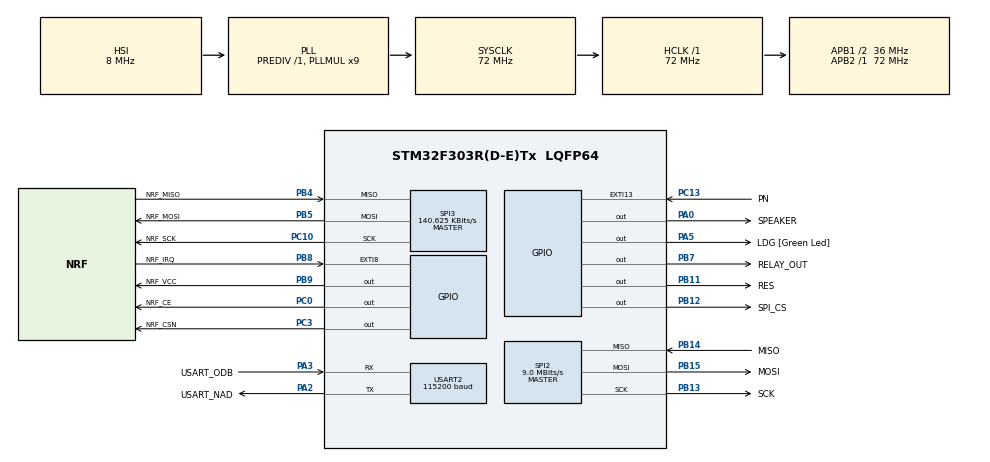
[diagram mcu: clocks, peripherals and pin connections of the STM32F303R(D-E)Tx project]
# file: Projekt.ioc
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Mcu.Family=STM32F3
Mcu.Name=STM32F303R(D-E)Tx
Mcu.Package=LQFP64
NVIC.EXTI15_10_IRQn=true\:0\:0\:false\:false\:true\:true\:true
NVIC.PriorityGroup=NVIC_PRIORITYGROUP_0
NVIC.USART2_IRQn=true\:0\:0\:false\:false\:true\:true\:true
PA0.GPIO_Label=SPEAKER
PA0.Signal=GPIO_Output
PA13.GPIO_Label=TMS
PA13.Mode=Serial_Wire
PA13.Signal=SYS_JTMS-SWDIO
PA14.GPIO_Label=TCK
PA14.Mode=Serial_Wire
PA14.Signal=SYS_JTCK-SWCLK
PA2.GPIO_Label=USART_NAD
PA2.GPIO_Mode=GPIO_MODE_AF_PP
PA2.GPIO_PuPd=GPIO_NOPULL
PA2.GPIO_Speed=GPIO_SPEED_FREQ_LOW
PA2.Mode=Asynchronous
PA2.Signal=USART2_TX
PA3.GPIO_Label=USART_ODB
PA3.GPIO_Mode=GPIO_MODE_AF_PP
PA3.GPIO_PuPd=GPIO_NOPULL
PA3.GPIO_Speed=GPIO_SPEED_FREQ_LOW
PA3.Mode=Asynchronous
PA3.Signal=USART2_RX
PA5.GPIO_Label=LDG [Green Led]
PA5.GPIO_Mode=GPIO_MODE_OUTPUT_PP
PA5.GPIO_PuPd=GPIO_NOPULL
PA5.GPIO_Speed=GPIO_SPEED_FREQ_LOW
PA5.Signal=GPIO_Output
PB11.GPIO_Label=RES
PB11.Signal=GPIO_Output
PB12.GPIO_Label=SPI_CS
PB12.Signal=GPIO_Output
PB13.GPIO_Label=SCK
PB13.Mode=Full_Duplex_Master
PB13.Signal=SPI2_SCK
PB14.GPIO_Label=MISO
PB14.Mode=Full_Duplex_Master
PB14.Signal=SPI2_MISO
PB15.GPIO_Label=MOSI
PB15.Mode=Full_Duplex_Master
PB15.Signal=SPI2_MOSI
PB3.GPIO_Label=SWO
PB3.Signal=SYS_JTDO-TRACESWO
PB4.GPIO_Label=NRF_MISO
PB4.Mode=Full_Duplex_Master
PB4.Signal=SPI3_MISO
PB5.GPIO_Label=NRF_MOSI
PB5.Mode=Full_Duplex_Master
PB5.Signal=SPI3_MOSI
PB7.GPIO_Label=RELAY_OUT
PB7.Signal=GPIO_Output
PB8.GPIO_Label=NRF_IRQ
PB8.Signal=GPXTI8
PB9.GPIO_Label=NRF_VCC
PB9.Signal=GPIO_Output
PC0.GPIO_Label=NRF_CE
PC0.Signal=GPIO_Output
PC10.GPIO_Label=NRF_SCK
PC10.Mode=Full_Duplex_Master
PC10.Signal=SPI3_SCK
PC13.GPIO_Label=PN
PC13.GPIO_ModeDefaultEXTI=GPIO_MODE_IT_FALLING
PC13.Signal=GPXTI13
PC14-OSC32_IN.Mode=LSE-External-Oscillator
PC14-OSC32_IN.Signal=RCC_OSC32_IN
PC15-OSC32_OUT.Mode=LSE-External-Oscillator
PC15-OSC32_OUT.Signal=RCC_OSC32_OUT
PC3.GPIO_Label=NRF_CSN
PC3.Signal=GPIO_Output
PF0-OSC_IN.Mode=HSE-External-Clock-Source
PF0-OSC_IN.Signal=RCC_OSC_IN
PF1-OSC_OUT.Signal=RCC_OSC_OUT
ProjectManager.HeapSize=0x200
ProjectManager.StackSize=0x400
ProjectManager.TargetToolchain=STM32CubeIDE
RCC.AHBFreq_Value=72000000
RCC.APB1CLKDivider=RCC_HCLK_DIV2
RCC.APB1Freq_Value=36000000
RCC.APB1TimFreq_Value=72000000
RCC.APB2Freq_Value=72000000
RCC.APB2TimFreq_Value=72000000
RCC.CortexFreq_Value=72000000
RCC.HCLKFreq_Value=72000000
RCC.HSE_VALUE=8000000
RCC.HSI_VALUE=8000000
RCC.PLLM=8
RCC.PLLMUL=RCC_PLL_MUL9
RCC.PLLN=336
RCC.PLLP=RCC_PLLP_DIV4
RCC.PLLQ=7
RCC.RCC_PLLsource_Clock_Source_FROM_HSE=RCC_HSE_PREDIV_DIV2
RCC.SYSCLKFreq_VALUE=72000000
RCC.SYSCLKSourceVirtual=RCC_SYSCLKSOURCE_PLLCLK
RCC.USBFreq_Value=72000000
SPI2.BaudRatePrescaler=SPI_BAUDRATEPRESCALER_4
SPI2.CalculateBaudRate=9.0 MBits/s
SPI2.DataSize=SPI_DATASIZE_8BIT
SPI2.Direction=SPI_DIRECTION_2LINES
SPI2.Mode=SPI_MODE_MASTER
SPI2.VirtualType=VM_MASTER
SPI3.BaudRatePrescaler=SPI_BAUDRATEPRESCALER_256
SPI3.CLKPhase=SPI_PHASE_1EDGE
SPI3.CRCCalculation=SPI_CRCCALCULATION_DISABLE
SPI3.CalculateBaudRate=140.625 KBits/s
SPI3.DataSize=SPI_DATASIZE_8BIT
SPI3.Direction=SPI_DIRECTION_2LINES
SPI3.Mode=SPI_MODE_MASTER
SPI3.NSSPMode=SPI_NSS_PULSE_DISABLE
SPI3.VirtualType=VM_MASTER
TIM1.Period=0xffff
TIM1.Prescaler=72-1
USART2.BaudRate=115200
USART2.VirtualMode-Asynchronous=VM_ASYNC
VP_TIM1_VS_ClockSourceINT.Mode=Internal
board=NUCLEO-F303RE

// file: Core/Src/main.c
/* USER CODE BEGIN Header */
/**
  ******************************************************************************
  * @file           : main.c
  * @brief          : Main program body
  ******************************************************************************
  * @attention
  *
  * <h2><center>&copy; Copyright (c) 2020 STMicroelectronics.
  * All rights reserved.</center></h2>
  *
  * This software component is licensed by ST under BSD 3-Clause license,
  * the "License"; You may not use this file except in compliance with the
  * License. You may obtain a copy of the License at:
  *                        opensource.org/licenses/BSD-3-Clause
  *
  ******************************************************************************
  */
/* USER CODE END Header */
#include "main.h"
#include "spi.h"
#include "tim.h"
#include "usart.h"
#include "gpio.h"

/* USER CODE BEGIN Includes */
#include <string.h>
#include <stdio.h>
#include <stdarg.h>
#include <rc522.h>		//Biblioteka do modułu RFID rc522
#include <FLASH_PAGE.h> //Biblioteka do zapisu/odczytu flash
#include <MY_NRF24.h>	//Biblioteka do modułu radiowego
/* USER CODE END Includes */

/* USER CODE BEGIN PV */
/*---------------------------------------ZMIENNE---------------------------------------------------*/

/*
Rozkład pinów dla projektu:
PIN:			ETYKIETA:			TRYB PRACY:				FUNKCJONALNOŚĆ:

PC0				NRF_CE				GPIO_OUTPUT				Wysyłanie danych do nRF24
PC3				NRF_CSN				GPIO_OUTPUT				Wysyłanie danych do nRF24
PC13			PN					GPIO_EXTI3				Przycisk - programowanie flash (low - on, high - off)
PA2				USART_NAD			USART2_TX				Nadawanie poprzez USART
PA3				USART_ODB			USART2_RX				Odbieranie poprzez USART
PA5				LDG					GPIO_OUTPUT				Zielona dioda (low - off, high - on)
PB11			RES					GPIO_OUTPUT				Ustawia tryb komunikacji RC522
PB12			SPI_CS				GPIO_OUTPUT				Komunikacja z RC522
PB13			SCK					SPI2_SCK				Komunikacja z RC522
PB14			MISO				SPI2_MISO				Komunikacja z RC522
PB15			MOSI				SPI2_MOSI				Komunikacja z RC522
PC10			NRF_SCK				SPI3_SCK				Komunikacja z nRF24
PB4				NRF_MISO			SPI3_MISO				Komunikacja z nRF24
PB5				NRF_MOSI			SPI3_MOSI				Komunikacja z nRF24
PB7				RELAY_OUT			GPIO_OUTPUT				Sterowanie stanem przekaźnika (high - on, low - off)
PB8				NRF_IRQ				GPIO_EXTI8				Jeszcze brak, docelowo przerwania
PB9				NRF_VCC				GP IO_OUTPUT				Zasilanie nRF24 (high - on, low - off)
PA0				SPEAKER				GPIO_OUTPUT				Sygnał głośnika
*/

//--------Definicja SPI dla RC522
#define cs_reset() 					HAL_GPIO_WritePin(SPI_CS_GPIO_Port, SPI_CS_Pin, GPIO_PIN_RESET)
#define cs_set() 					HAL_GPIO_WritePin(SPI_CS_GPIO_Port, SPI_CS_Pin, GPIO_PIN_SET)
//Koniec: Definicja SPI dla RC522

//Bufory kołowe do komunikacji poprzez USART
#define USART_NAD_BUF_LEN 1512				//Rozmiar buforu nadawczego
#define USART_ODB_BUF_LEN 1512				//Rozmiar buforU odbiorczego
uint8_t USART_NADBuf[USART_NAD_BUF_LEN];	//Bufor nadawczy
uint8_t USART_ODBBuf[USART_ODB_BUF_LEN];	//Bufor odbiorczy
uint16_t USART_NAD_Empty=0;					//Pozycja dla pustego miejsca w buf. nadawczym
uint16_t USART_NAD_Busy=0;					//Pozycja dla zajętego miejsca w buf. nadawczym
uint16_t USART_ODB_Empty=0;					//Pozycja dla pustego miejsca w buf. odbiorczym
uint16_t USART_ODB_Busy=0;					//Pozycja dla zajętego miejsca w buf. odbiorczym
//Koniec: Bufory kołowe do komunikacji poprzez USART

//Liczniki, stany oraz zmienne sprawdzające
uint8_t Licznik_LDG_Czest = 0;		//Licznik częstotliwości migania diody przy odczycie RFID
uint16_t Licznik_LDG_Dlugosc = 0;	//Licznik migania diody po odczycie RFID
uint8_t Opoznienie = 1;				//Zmienna przełączająca - decyduje, czy opóźnienie jest włączone, czy nie
uint16_t Licznik_Opoznienie = 0;	//Licznik dla opóźnienia do zapisu/odczyty RFID
uint16_t Licznik_ID_Zapis = 0;		//Licznik do zapisu RFID (Zegar: IDSaving)
uint16_t Licznik = 0; 				//Licznik ogólny
uint8_t Door_Open = 0;				//zmienna informująca, czy furtka jest otwarta
uint8_t Door_PermOpen = 0;			//tryb stałego otwarcia furtki (0 - wył)
uint8_t PN_Licznik_Toggle = 0;		//Włączenie/wyłączenie licznika przycisku
uint32_t PN_OFF_Licznik = 0;		//Licznik nie naciśniętego przycisku
uint32_t PN_OFF_Licznik_Zapisany=0;	//zapis licznika do pamięci
uint32_t PN_ON_Licznik = 0;			//Licznik wciśniętego przycisku
uint32_t PN_ON_Licznik_Zapisany = 0;//zapis licznika do pamięci
uint8_t PN_Verify1 = 0;				//Programowanie flash
uint8_t PN_Verify2 = 0;				//Programowanie flash
int i = 0;							//Licznik do pętli
int g = 0;							//zmienna do tablic z usarta
uint16_t LicznikPerm = 0;			//Licznik do resetowania diody przy otwartej furtce
uint16_t Licznik_Ramka = 0;			//Licznik dla timeoutu ramki
uint8_t ramkaReset = 0;				//Zmienna przełączająca timeout dla ramki
uint8_t dzwiekPrzelacznik = 1;		//Dzwiek wl/wyl
uint8_t przekroczonoZakres = 0;		//Sterowanie przerkoczeniem zakresu w ramce komunikacji
uint8_t bladKodowania = 0;			//Sterowanie bledem kodowania (znak niekodowany po \)
uint8_t trigger_flashClear = 0;		//przełącznik czyszczenia flash
uint16_t licznik_flashClear = 0;	//licznik czyszczenia flash
//Koniec: Liczniki, stany oraz zmienne sprawdzające

//Zmienne decydujące o czasie trwania akcji
uint16_t Czas_OtwarciaFurtki = 5000;			//Czas otwarcia furtki po otwarciu RFID lub sygnale krótkim
uint16_t Czas_Opoznienie = 6000;				//Czas opóźnienia akcji
uint16_t Czas_ZapisuFlash = 6000;				//Czas, w którym można zapisać do flash po włączeniu trybu
uint16_t Czas_InterwalyResetu = 8000;			//Interwały dla resetu diody nadajnika
uint16_t Czas_WyczyszczenieFlash = 20000;		//Czas wciśnięcia przycisku do zresetowania flash
uint16_t Czas_ZapisPrzycisk_E1D = 2000;			//Zakres czasu dolny dla etapu 1 (E1D) sekwencji zapisu flash w ms (od 2s..)
uint16_t Czas_ZapisPrzycisk_E1G = 4000;			//(..do 4s)
uint16_t Czas_ZapisPrzycisk_E2D = 3000;			// od 3s...
uint16_t Czas_ZapisPrzycisk_E2G = 6000;			// ...do 6s
uint16_t Czas_ZapisPrzycisk_E3D = 5000;			//od 5s...
uint16_t Czas_ZapisPrzycisk_E3G = 10000;		//...do 10s
uint16_t Czas_ZapisPrzycisk_Zerowanie = 10000;	//Interwały zerowania licznika off przycisku i stanów weryfikacji sekwencji zapisu flash
uint16_t Czas_OdczytFlash_MiganieDiody = 2000;	//Czas migania diody po poprawnym odczycie RFID
uint16_t Czas_OdczytFlash_Czestotliwosc = 250;	//Częstotliwość migania diody po odczycie RFID
uint16_t Czas_resetowaniaRamki = 4500;			//Timeout dla komunikacji

/*PAMIEĆ FLASH: Info
Zakres pamięci: 0x0800 0000 -  0x0807 FFFF
Wybrany zakres pamięci Flash dla RFID: 0x08032010 do 0x0807D010
Tagi zapisywane są co 4 bajty, co daje 76 800 miejsc dla tagów
Czyszczenie:
Więc od 0x08032010 do 0x0807D010 co 2048b, więc co 0x800 HEX jeden tag
Wywołanie zapisu do flash:
2 - 4s Przycisk wciśnięty,
3 - 6s Przycisk nie naciśnięty,
5 - 20s Przycisk wciśnięty
Wywołanie czyszczenia flash:
>20s Przycisk wciśnięty
Koniec: Flash Info*/

//RC522 - Zmienne
uint32_t ID[4];						//Kontener dla ID karty
uint8_t ID_Weryfikacja;				//Zmienna informująca, czy ID się zgadza z zapisem w pamięci
uint8_t ID_Zapis = 0; 				//Zmienna włączająca w tryb zapisu flash
//Koniec: RC522 - Zmienne

//nRF24 - Zmienne
uint64_t AdresOdbiorczy = 0x11223344AA;	//Adres odbiorczy modułu radiowego
uint64_t AdresNadawczy = 0x12223344AA;	//Adres nadawczy modułu radiowego
char klucz[50];							//Kontener na przychodzące dane
uint32_t kluczKrotki = 391020153;		//Klucz dla otwarcia furtki na określony czas
uint32_t kluczDlugi = 594201501;		//Klucz dla otwarcia/zamknięcia furtki na stałe
static char resetDiody[32] = "325112";	//Włącza diodę w nadajniku, jeśli furtka otwarta jest na stałe
static char resetDiody2[32] = "435345";	//Wyłącza diodę w nadajniku, jeśli furtka jest zamknięta
uint8_t resetDiody_wysylka = 0;			//Zmienna decydująca
//Koniec: nRF24 - Zmienne

//Zmienne głośnika
uint16_t Tony[] = {1911,1702,1516,1431,1275,1136,1012}; //Wartości opóźnienia w mikrosekundach
//od najmniejszej częstotliwości do największej
//Koniec: Zmienne głośnika

//Komendy
static char komendaOtworz[248] = "OPEN";				//Otwiera elektrozaczep
static char komendaOtworzStale[248] = "OPENPERM";		//Otwiera stale elektrozaczep
static char komendaZamknij[248] = "CLOSE";				//Zamyka elektrozaczep
static char komendaFlashZapisz[248] = "FLASHSAVE";		//Zapis RFID do flash
static char komendaFlashWyczysc[248] = "FLASHCLEAR";	//Czyszczenie flash
static char komendaZmienCzas[248] = "CHANGETIMEOPEN:";	//Zmiana czasu otwarcia elektrozaczepu
static char komendaDzwiek[248] = "SOUND";				//WL/WYL dzwiek
//Koniec komend

//Zmienne komunikacji UART
uint8_t znak;							//Zmienna przechowująca aktualny znak z buforu odbiorczego
uint8_t odbiorRamki = 0;				//Zmienna informująca, czy trwa odbiór właściwej części ramki
uint8_t poczatekRamki = 0;				//Zmienna informująca, czy odebrano pierwszy znak
uint8_t koniecRamki = 0;				//Zmienna informująca, czy odebrano ostatni znak
uint8_t errorZabronionyZnak = 0;		//Zmienna przełączająca dla błędu
uint16_t ramkaIDX = 0;					//Indeks ramki
uint8_t ramka[256];						//Zmienna przechwytująca ramkę komunikacji
uint8_t dlugoscRamki = 0;				//Zmienna przechowująca długość ramki
uint8_t czyszczenieFlash = 0;			//Zmienna przełączająca dla czyszczenia flash
uint8_t komendaZmienCzasTrigger = 0;	//Zmienna informująca o przypadku komendy zmiany czasu
uint8_t zmianaCzasuTablica[5];			//Zmienna przechwytująca czas do komendy
uint8_t zmianaCzasuError = 0;			//Zmienna przełączająca dla błędu
uint16_t tempCzas;						//Zmienna tymczasowa do konwersji czasu
char Odbiorca[4] = "NCL";				//Nazwa odbiorcy
char OdbiorcaSpr[4];					//Zmienna do sprawdzenia, czy komunikat jest do płytki
char Nadawca[4];						//Zmienna przechwytująca nadawcę
char komenda[248];						//Zmienna przechwytująca komendę w ramce
uint8_t kodowanie = 0;
//Koniec zmiennych komunikacji UART

/*---------------------------------KONIEC ZMIENNYCH-----------------------------------------*/
/* USER CODE END PV */

void SystemClock_Config(void);
/* USER CODE BEGIN PFP */
/*--------------------------------------FUNKCJE----------------------------------------------*/

 //RC522 - Deklaracje funkcji
uint8_t MFRC522_Request(uint8_t reqMode, uint8_t* TagType); //Odbieranie tagu RFID
uint8_t MFRC522_Anticoll(uint8_t* serNum);					//Anty-kolizja dla RFID
void MFRC522_Init(void);									//Inicjalizacja RC522
//Koniec: RC522 - Deklaracje funkcji

void Zegar(){//----------Początek: Zegar-----------

	if(!Opoznienie){ //Opóźnienie dla odczytu RFID
		Licznik_Opoznienie++;
		if(Licznik_Opoznienie>=Czas_Opoznienie){
			Licznik_Opoznienie = 0;
			Opoznienie = 1;
		}
	}//Koniec: Opóźnienie dla odczytu RFID

	if(Door_Open){ //Oczekiwanie i zamknięcie furtki
		Licznik++;
		if(Licznik>=Czas_OtwarciaFurtki){
			Door_ChangeState();
			if(dzwiekPrzelacznik)
				dzwiek_doorClose();
			Licznik = 0;
			Door_Open = 0;
		}
	}//Koniec: Oczekiwanie i zamknięcie furtki

	if(PN_Licznik_Toggle)//Liczenie czasu stanu przycisku
		PN_ON_Licznik++;
	else
		PN_OFF_Licznik++;//Koniec: Liczenie czasu stanu przycisku

	if(ID_Zapis){//Zapis RFID do pamięci flash - licznik i dioda
		Licznik_ID_Zapis++;
		Licznik++;
		if(Licznik>=500){
			LDG_Toggle();
			Licznik = 0;
		}
		if(Licznik_ID_Zapis>=Czas_ZapisuFlash){
			ID_Zapis = 0;
			Licznik_ID_Zapis = 0;
			HAL_GPIO_WritePin(LDG_GPIO_Port, LDG_Pin, GPIO_PIN_RESET);
			Opoznienie = 0;
			dzwiek_ID_Check_NotOK();
		}
	}//Koniec: Zapis RFID do pamięci flash - licznik i dioda

	if(ID_Weryfikacja){//Poprawny odczyt RFID - miganie diody
		Licznik_LDG_Dlugosc++;
		Licznik_LDG_Czest++;
		if(Licznik_LDG_Czest>=Czas_OdczytFlash_Czestotliwosc){
			LDG_Toggle();
			Licznik_LDG_Czest = 0;
		}
		if(Licznik_LDG_Dlugosc>Czas_OdczytFlash_MiganieDiody){
			Licznik_LDG_Dlugosc = 0;
			ID_Weryfikacja = 0;
		}
		HAL_GPIO_WritePin(LDG_GPIO_Port, LDG_Pin, GPIO_PIN_RESET);
	}//Koniec: Poprawny odczyt RFID - miganie diody

	LicznikPerm++;
	if(LicznikPerm>Czas_InterwalyResetu){
		resetDiody_wysylka = 1;
		LicznikPerm = 0;
	}//Koniec: Reset diody pilota - furtka otwarta

	if(ramkaReset)	//timeout dla ramki
	{
		Licznik_Ramka++;
		if(Licznik_Ramka > Czas_resetowaniaRamki)
			resetRamki();
	} //Koniec: timeout dla ramki

	if(trigger_flashClear){
		licznik_flashClear++;
		if(licznik_flashClear >= 5000){
			licznik_flashClear = 0;
			trigger_flashClear = 0;
		}
	}

}//---------Koniec: Zegar----------

uint8_t USART_ODB_NotEmpty(){
	if(USART_ODB_Empty==USART_ODB_Busy)
		return 0;
	else
		return 1;
}//Koniec: USART_ODB_NotEmpty

uint8_t USART_PobierzZnak(){
	uint8_t temp;
	if(USART_ODB_NotEmpty()){
		temp = USART_ODBBuf[USART_ODB_Busy];
		USART_ODB_Busy++;
		if(USART_ODB_Busy >= USART_ODB_BUF_LEN)
			USART_ODB_Busy = 0;
		return temp;
	}
	else return 0;
}//Koniec: USART_PobierzZnak

uint8_t USART_PobierzLinie(char *buf){
	static uint8_t bf[128];
	static uint8_t idx=0;
	uint8_t ret;
	int x = 0;
	while(USART_ODB_NotEmpty()){
		bf[idx] = USART_PobierzZnak();
		if(((bf[idx]==10)||(bf[idx]==13)))
		{
			bf[idx]=0;
			for(i=0;i<=idx;i++){
				buf[i]=bf[i];
			}
			ret = idx;
			idx = 0;
			return ret;
		}
		else
		{
			idx++;
			if(idx>=128)
				idx = 0;
		}
	}
	return x;
}//Koniec: USART_PobierzLinie

void USART_wysylka(char* format,...){
	char tmp_rs[256];
	uint16_t H;
	__IO int idx;
	va_list arglist;
	va_start(arglist,format);
	vsprintf(tmp_rs,format,arglist);
	va_end(arglist);
	idx = USART_NAD_Empty;
	for(H=0;H<strlen(tmp_rs);H++){
		USART_NADBuf[idx]=tmp_rs[H];
		idx++;
		if(idx >= USART_NAD_BUF_LEN)
			idx = 0;
	}
	__disable_irq();
	if((USART_NAD_Empty==USART_NAD_Busy)&&(__HAL_UART_GET_FLAG(&huart2,UART_FLAG_TXE)==SET))
	{
		USART_NAD_Empty = idx;
		uint8_t tmp = USART_NADBuf[USART_NAD_Busy];
		USART_NAD_Busy++;
		if(USART_NAD_Busy >= USART_NAD_BUF_LEN)
			USART_NAD_Busy = 0;
		HAL_UART_Transmit_IT(&huart2, &tmp, 1);
	}
	else
		USART_NAD_Empty = idx;
	__enable_irq();
}//Koniec: USART_Wysylka

void HAL_UART_TxCpltCallback(UART_HandleTypeDef *huart) //przerwanie do nadawania
{
	if(huart==&huart2)
	{
		if(USART_NAD_Empty!=USART_NAD_Busy)
		{
			uint8_t temp = USART_NADBuf[USART_NAD_Busy];
			USART_NAD_Busy++;
			if(USART_NAD_Busy >= USART_NAD_BUF_LEN)
				USART_NAD_Busy = 0;
			HAL_UART_Transmit_IT(&huart2, &temp, 1);
		}
	}
}//Koniec: Przerwanie do nadawania

void HAL_UART_RxCpltCallback(UART_HandleTypeDef *huart) //przerwanie do odbioru
{
	if(huart == &huart2)
	{
		USART_ODB_Empty++;
		if(USART_ODB_Empty >= USART_ODB_BUF_LEN)
			USART_ODB_Empty = 0;
		HAL_UART_Receive_IT(&huart2, &USART_ODBBuf[USART_ODB_Empty], 1);
	}
} //Koniec: Przerwanie do odbioru

void Flash_IDSave(uint32_t ID_IN){
	HAL_FLASH_Unlock();
	__IO uint32_t Flash_check = 0;
	uint32_t AdresZapisu = 0x8032010;
	uint8_t C = 0;
	for(i = 0; i <= 76800; i++){ //wyszukiwanie wolnego miejsca co 4 bajty
		Flash_check = *(__IO uint32_t *)AdresZapisu;
		if(Flash_check == 0xFFFFFFFF){ //znaleziono wolne miejsce
			HAL_FLASH_Program(FLASH_TYPEPROGRAM_WORD, AdresZapisu, ID_IN);
			C = 1;
			break;
		}
		else
			AdresZapisu = AdresZapisu + 4;
	}
	if(!C) //nie znaleziono wolnego miejsca - flash dla RFID jest czyszczony
		flashClear();
	HAL_FLASH_Lock();
}

uint8_t Flash_IDCheck(uint32_t ID_IN){//Wyszukanie RFID w pamięci flash
	uint32_t AdresPobrania = 0x8032010;
	__IO uint32_t Flash_check;
	for(i = 0 ; i <= 76800; i++){//Zakres pamięci flash dla RFID to 150 stron
		Flash_check = *(__IO uint32_t *)AdresPobrania;
		if(ID_IN==Flash_check)
			return 1;
		else
			AdresPobrania = AdresPobrania + 4;
	}
	return 0;
}//Koniec: Flash_IDCheck

void LDG_Toggle(){//Przełączenie stanu diody zielonej
	HAL_GPIO_TogglePin(LDG_GPIO_Port, LDG_Pin);
}

void RC522_SetReset(){ //Ustawienie resetu dla RC522, dla komunikacji poprzez SPI
	HAL_GPIO_WritePin(RES_GPIO_Port, RES_Pin, GPIO_PIN_SET);
	HAL_Delay(5);
	HAL_GPIO_WritePin(RES_GPIO_Port, RES_Pin, GPIO_PIN_RESET);
	HAL_Delay(5);
	HAL_GPIO_WritePin(RES_GPIO_Port, RES_Pin, GPIO_PIN_SET);
	HAL_Delay(5);
}//Koniec: RC522_SetReset

void Door_ChangeState(){//Otworzenie/zamknięcie furtki
	HAL_GPIO_TogglePin(RELAY_OUT_GPIO_Port, RELAY_OUT_Pin);
}//Koniec: Otworzenie/zamknięcie furtki

void delay_us (uint16_t us)//Opóźnienie w mikrosekundach
{
	__HAL_TIM_SET_COUNTER(&htim1,0);  // set the counter value a 0
	while (__HAL_TIM_GET_COUNTER(&htim1) < us);  // wait for the counter to reach the us input in the parameter
}//Koniec: Opóźnienie w mikrosekundach

void dzwiek_ID_Zapis(){//Dźwięk wydawany podczas zapisu karty RFID
	for(uint8_t j = 4; j<=6; j++){
		for(i = 0; i<100; i++){
			HAL_GPIO_WritePin(SPEAKER_GPIO_Port, SPEAKER_Pin, GPIO_PIN_SET);
			delay_us(Tony[j]);
			HAL_GPIO_WritePin(SPEAKER_GPIO_Port, SPEAKER_Pin, GPIO_PIN_RESET);
			delay_us(Tony[j]);
		}
		HAL_Delay(10);
	}
	for(uint8_t j = 5; j<=6; j++){
		for(i = 0; i<100; i++){
			HAL_GPIO_WritePin(SPEAKER_GPIO_Port, SPEAKER_Pin, GPIO_PIN_SET);
			delay_us(Tony[j]);
			HAL_GPIO_WritePin(SPEAKER_GPIO_Port, SPEAKER_Pin, GPIO_PIN_RESET);
			delay_us(Tony[j]);
		}
		HAL_Delay(10);
	}
}//Koniec: dzwiek_ID_Zapis

void dzwiek_ID_Check_OK(){//Dźwięk wydawany podczas poprawnego odczytu karty RFID
	for(uint8_t j = 0; j<3; j++){
		for(i = 0; i<40; i++){
			HAL_GPIO_WritePin(SPEAKER_GPIO_Port, SPEAKER_Pin, GPIO_PIN_SET);
			delay_us(Tony[6]);
			HAL_GPIO_WritePin(SPEAKER_GPIO_Port, SPEAKER_Pin, GPIO_PIN_RESET);
			delay_us(Tony[6]);
		}
		HAL_Delay(50);
	}
}//Koniec: dzwiek_ID_Check_OK

void dzwiek_ID_Check_NotOK(){//Dźwięk wydawany podczas nieudanego odczytu karty RFID
	for(i = 0; i<300; i++){
		HAL_GPIO_WritePin(SPEAKER_GPIO_Port, SPEAKER_Pin, GPIO_PIN_SET);
		delay_us(Tony[0]);
		HAL_GPIO_WritePin(SPEAKER_GPIO_Port, SPEAKER_Pin, GPIO_PIN_RESET);
		delay_us(Tony[0]);}
}//Koniec: dzwiek_ID_Check_NotOK

void dzwiek_permOpenON(){//Dźwięk po otwarciu stałym furtki
	for(i = 0; i<300; i++){
		HAL_GPIO_WritePin(SPEAKER_GPIO_Port, SPEAKER_Pin, GPIO_PIN_SET);
		delay_us(Tony[6]);
		HAL_GPIO_WritePin(SPEAKER_GPIO_Port, SPEAKER_Pin, GPIO_PIN_RESET);
		delay_us(Tony[6]);
	}
}//Koniec: dzwiek_permOpenON

void dzwiek_doorClose(){//Dźwięk po zamknięciu furtki
	for(i = 0; i<50; i++){
		HAL_GPIO_WritePin(SPEAKER_GPIO_Port, SPEAKER_Pin, GPIO_PIN_SET);
		delay_us(Tony[2]);
		HAL_GPIO_WritePin(SPEAKER_GPIO_Port, SPEAKER_Pin, GPIO_PIN_RESET);
		delay_us(Tony[2]);
	}
}//Koniec: dzwiek_doorClose

void dzwiek_czyszczenieFlash(){//Dźwięk przy zresetowaniu flash
	for(uint8_t j = 0; j<=6; j++){
		for(i = 0; i<60; i++){
			HAL_GPIO_WritePin(SPEAKER_GPIO_Port, SPEAKER_Pin, GPIO_PIN_SET);
			delay_us(Tony[j]);
			HAL_GPIO_WritePin(SPEAKER_GPIO_Port, SPEAKER_Pin, GPIO_PIN_RESET);
			delay_us(Tony[j]);
		}
		HAL_Delay(30);
	}
	for(uint8_t h = 6; h>0; h--){
		for(i = 0; i<60; i++){
			HAL_GPIO_WritePin(SPEAKER_GPIO_Port, SPEAKER_Pin, GPIO_PIN_SET);
			delay_us(Tony[h]);
			HAL_GPIO_WritePin(SPEAKER_GPIO_Port, SPEAKER_Pin, GPIO_PIN_RESET);
			delay_us(Tony[h]);
		}
		HAL_Delay(30);
	}
	for(i = 0; i<60; i++){
	HAL_GPIO_WritePin(SPEAKER_GPIO_Port, SPEAKER_Pin, GPIO_PIN_SET);
	delay_us(Tony[0]);
	HAL_GPIO_WritePin(SPEAKER_GPIO_Port, SPEAKER_Pin, GPIO_PIN_RESET);
	delay_us(Tony[0]);
	}
}//Koniec: dzwiek_czyszczenieFlash

void dzwiek_Inicjalizacja(){//Dźwięk po udanej inicjalizacji płytki
	for(uint8_t j = 0; j <2; j++){
		for(i = 0; i<50; i++){
			HAL_GPIO_WritePin(SPEAKER_GPIO_Port, SPEAKER_Pin, GPIO_PIN_SET);
			delay_us(Tony[5]);
			HAL_GPIO_WritePin(SPEAKER_GPIO_Port, SPEAKER_Pin, GPIO_PIN_RESET);
			delay_us(Tony[5]);
		}
		HAL_Delay(50);
	}
	for(i = 0; i<150; i++){
		HAL_GPIO_WritePin(SPEAKER_GPIO_Port, SPEAKER_Pin, GPIO_PIN_SET);
		delay_us(Tony[6]);
		HAL_GPIO_WritePin(SPEAKER_GPIO_Port, SPEAKER_Pin, GPIO_PIN_RESET);
		delay_us(Tony[6]);
	}
}//Koniec: dzwiek_Inicjalizacja

void dzwiek_flash_oczekiwanie(){
	for(i = 0; i<50; i++){
		HAL_GPIO_WritePin(SPEAKER_GPIO_Port, SPEAKER_Pin, GPIO_PIN_SET);
		delay_us(Tony[6]);
		HAL_GPIO_WritePin(SPEAKER_GPIO_Port, SPEAKER_Pin, GPIO_PIN_RESET);
		delay_us(Tony[6]);
	}
}

void InicjalizacjaOdbiornika(){//Inicjalizacja nRF24 w trybie odbiornika
	HAL_GPIO_WritePin(NRF_VCC_GPIO_Port, NRF_VCC_Pin, GPIO_PIN_RESET);
	HAL_Delay(10);
	HAL_GPIO_WritePin(NRF_VCC_GPIO_Port, NRF_VCC_Pin, GPIO_PIN_SET);
	HAL_Delay(10);
	NRF24_begin(NRF_CE_GPIO_Port, NRF_CSN_Pin, NRF_CE_Pin, hspi3);
	nrf24_DebugUART_Init(huart2);
	NRF24_setChannel(35);
	NRF24_setPayloadSize(32);
	NRF24_setCRCLength(RF24_CRC_16);
	NRF24_setDataRate(RF24_250KBPS);
	NRF24_openReadingPipe(0, AdresOdbiorczy);
	NRF24_startListening();
}//Koniec: InicjalizacjaOdbiornika

void resetowanieDiody(){//Resetowanie diody nadajnika, w zależności od stanu furtki
	NRF24_stopListening();
	NRF24_openWritingPipe(AdresNadawczy);
	if(Door_PermOpen)
		NRF24_write(resetDiody, 32);
	else
		NRF24_write(resetDiody2, 32);
	NRF24_startListening();
	LicznikPerm = 0;
}//Koniec: resetowanieDiody

void resetRamki(){ // Zerowanie ramki
	  for(i = 0; i <= 255; i++)
		  ramka[i] = 0;
	  poczatekRamki = 0;
	  odbiorRamki = 0;
	  koniecRamki = 0;
	  ramkaReset = 0;
	  Licznik_Ramka = 0;
	  ramkaIDX = 0;
	  przekroczonoZakres = 0;
	  bladKodowania = 0;
} //Koniec resetu ramki

void resetKomendy(){ //Zerowanie komendy
	  for(i = 0; i <= 246; i ++)
		  komenda[i] = 0;
} //Koniec resetu komendy

void flashClear(){
	uint32_t miejsceFlashEmpty[] = {0x8032010};
	uint32_t zerujFlash[4] = {0, 0, 0, 0};
	uint32_t Flash_Zerowanie_Adres = 0x8032010;
	Flash_Write_Data(0x08031810, miejsceFlashEmpty);
	for(i = 0 ; i <= 150; i++){
		Flash_Write_Data(Flash_Zerowanie_Adres, zerujFlash);
		Flash_Zerowanie_Adres = Flash_Zerowanie_Adres + 0x800;
	}
	USART_wysylka("Zresetowano flash!\n\r");
	if(dzwiekPrzelacznik)
		dzwiek_czyszczenieFlash();
}
/*-------------------------------------KONIEC FUNKCJI-------------------------------------------*/

/* USER CODE END PFP */

int main(void)
{

  /* MCU Configuration--------------------------------------------------------*/

  /* Reset of all peripherals, Initializes the Flash interface and the Systick. */
  HAL_Init();

  /* Configure the system clock */
  SystemClock_Config();

  /* Initialize all configured peripherals */
  MX_GPIO_Init();
  MX_USART2_UART_Init();
  MX_SPI2_Init();
  MX_SPI3_Init();
  MX_TIM1_Init();
  /* USER CODE BEGIN 2 */
  /*--------------------------------INICJALIZACJA-------------------------------------------*/

  HAL_TIM_Base_Start(&htim1);//Inicjalizacja licznika mikrosekundowego
  HAL_GPIO_WritePin(SPEAKER_GPIO_Port, SPEAKER_Pin, GPIO_PIN_RESET); //wyłączenie pinu głośnika
  HAL_GPIO_WritePin(RELAY_OUT_GPIO_Port, RELAY_OUT_Pin, GPIO_PIN_RESET);//Upewnienie się, że furtka jest zamknięta przy inicjalizacji
  InicjalizacjaOdbiornika(); //ustawienie modułu nRF24 w trybie odbiornika
  HAL_Delay(10);
  cs_set();			 	//Ustawienie pinu SPI dla RC522
  RC522_SetReset(); 	//Ustawienie pinu Reset dla RC522
  MFRC522_Init();		//Inicjalizacja RC522 dla SPI2
  HAL_Delay(10);
  dzwiek_Inicjalizacja();

/*------------------------------KONIEC INICJALIZACJI--------------------------------------*/
  /* USER CODE END 2 */

  /* Infinite loop */
  /* USER CODE BEGIN WHILE */

  HAL_UART_Receive_IT(&huart2, &USART_ODBBuf[0], 1);

  while (1)//-------------------------------WHILE-----------------------------------------------------------------------------------
  {

	  Czas_Opoznienie = Czas_OtwarciaFurtki + 300;

//----------Sekwencja wciskania przycisku dla dostępu do zapisu flash-----------

	  if(Opoznienie)//Przycisk wciśnięty
		 if(HAL_GPIO_ReadPin(PN_GPIO_Port, PN_Pin)==0){
			if(!PN_Licznik_Toggle){
				PN_Licznik_Toggle = 1;
				PN_OFF_Licznik_Zapisany = PN_OFF_Licznik;
				PN_OFF_Licznik = 0;
			}
		  }//Koniec: Przycisk wciśnięty

	  if(Opoznienie)//Przycisk niewciśnięty
	  		  if(PN_Licznik_Toggle)
	  	  		  if(HAL_GPIO_ReadPin(PN_GPIO_Port, PN_Pin)==1){
	  	  			  PN_Licznik_Toggle = 0;
	  	  			  PN_ON_Licznik_Zapisany = PN_ON_Licznik;
	  	  			  PN_ON_Licznik = 0;
	  	  		  }//Koniec: Przycisk niewciśnięty

	  if(Opoznienie)//Etap 1: Przycisk był wciśnięty od 2s do 4s
		  if(!PN_Verify1)
			  if((PN_ON_Licznik_Zapisany>Czas_ZapisPrzycisk_E1D)&&(PN_ON_Licznik_Zapisany<Czas_ZapisPrzycisk_E1G)){
				  PN_Verify1 = 1;
				  PN_OFF_Licznik_Zapisany = 0;
			  }//Koniec: Etap 1: Przycisk był wciśnięty od 2s do 4s

	  if(Opoznienie)//Etap 2: Przycisk nie był wciśnięty od 3s do 6s
		  if(PN_Verify1)
			  if((PN_OFF_Licznik_Zapisany>Czas_ZapisPrzycisk_E2D)&&(PN_OFF_Licznik_Zapisany<Czas_ZapisPrzycisk_E2G)){
				  PN_Verify2 = 1;
				  PN_Verify1 = 0;
			  }//Koniec: Etap 2: Przycisk nie był wciśnięty od 3s do 6s

	  if(Opoznienie)//Etap 3: Przycisk był wciśnięty od 5s do 10s
		  if(PN_Verify2)
			  if((PN_ON_Licznik_Zapisany>Czas_ZapisPrzycisk_E3D)&&(PN_ON_Licznik_Zapisany<Czas_ZapisPrzycisk_E3G)){
				  ID_Zapis = 1;
				  PN_Verify1 = 0;
				  PN_Verify2 = 0;
			  }//Koniec: Etap 3: Przycisk był wciśnięty od 5s do 10s

//uprawniony brelok do zeskanowania
	  if(Opoznienie)//Powyżej 20s, kasowanie pamięci flash dla RFID
		  if((PN_ON_Licznik_Zapisany>Czas_WyczyszczenieFlash)||(czyszczenieFlash)){
			  trigger_flashClear = 1;
	  	  	  if(dzwiekPrzelacznik)
	  	  		  dzwiek_flash_oczekiwanie();
	  		PN_ON_Licznik_Zapisany = 0;
	  		czyszczenieFlash = 0;
		  }//Koniec: kasowanie pamięci flash

	  if(trigger_flashClear)
	  	  if (!MFRC522_Request(PICC_REQIDL, ID))
	  	  		if (!MFRC522_Anticoll(ID))
	  	  			if(Flash_IDCheck(ID[0])){
	  	  				flashClear();
	  	  				trigger_flashClear = 0;
	  	  				licznik_flashClear = 0;
	  	  				Opoznienie = 0;
	  	  			}

	  if(PN_OFF_Licznik>Czas_ZapisPrzycisk_Zerowanie){//Powyżej tego czasu licznik i weryfikacje się zerują
		  PN_Verify1 = 0;
		  PN_Verify2 = 0;
		  PN_OFF_Licznik = 0;
	  }//Koniec: Zerowanie licznika

//---------Koniec: //Sekwencja wciskania przycisku dla dostępu do zapisu flash---------

	  if(Opoznienie)//Zapis RFID do pamięci flash
	  	  if(ID_Zapis)
	  		  if (!MFRC522_Request(PICC_REQIDL, ID))
	  			if (!MFRC522_Anticoll(ID)){
	  				  Opoznienie = 0;
	  				  Flash_IDSave(ID[0]);
	  				  if(dzwiekPrzelacznik)
	  					  dzwiek_ID_Zapis();
	  				  ID_Zapis = 0;
	  				  Licznik_ID_Zapis = 0;
	  				  USART_wysylka("Pomyslnie zapisano karte do pamieci flash!\n\r");
	  				  HAL_GPIO_WritePin(LDG_GPIO_Port, LDG_Pin, GPIO_PIN_RESET);
	  			}
	  	  	  	  //Koniec: Zapis RFID do pamięci flash

	  if(!ID_Zapis)//Odczyt i sprawdzenie RFID w celu otwarcia furtki
		  if(!Door_PermOpen)
			  if(Opoznienie)
				  if(!trigger_flashClear)
					  if (!MFRC522_Request(PICC_REQIDL, ID)){
						  if (!MFRC522_Anticoll(ID)){
							  ID_Weryfikacja = Flash_IDCheck(ID[0]);
							  if(ID_Weryfikacja){
								  Door_ChangeState();
								  if(dzwiekPrzelacznik)
									  dzwiek_ID_Check_OK();
								  Door_Open = 1;
							  }
							  else if(dzwiekPrzelacznik)
								  dzwiek_ID_Check_NotOK();
							  Opoznienie = 0;
						  }
					  }//Koniec: Odczyt i sprawdzenie RFID w celu otwarcia furtki

	  if(Opoznienie)//Odbiór klucza modułu radiowego nRF24
		  if(NRF24_available()){
			  NRF24_read(klucz, 32);
			  if(Door_PermOpen){
				  if((atoi(klucz) == kluczKrotki)||(atoi(klucz) == kluczDlugi)){//zamknięcie furtki
					  USART_wysylka("Zamkniecie furtki.\n\r");
					  Door_ChangeState();
					  Door_PermOpen = 0;
					  LDG_Toggle();
					  if(dzwiekPrzelacznik)
						  dzwiek_doorClose();
					  Opoznienie = 0;
				  }}
			  else if(atoi(klucz) == kluczKrotki)//czasowe otwarcie furtki
			  {
				  USART_wysylka("Poprawna weryfikacja klucza stanu krotkiego. Otwarcie furtki na %dms.\n\r",Czas_OtwarciaFurtki);
				  Door_ChangeState();
				  if(dzwiekPrzelacznik)
					  dzwiek_ID_Check_OK();
				  Door_Open = 1;
				  Opoznienie = 0;
			  }
			  else if(atoi(klucz) == kluczDlugi)//otwarcie furtki do momentu jej zamknięcia pilotem
			  {
				  USART_wysylka("Poprawna weryfikacja klucza stanu dlugiego. Otwarcie furtki do momentu ponownego jej zamkniecia pilotem lub komenda.\n\r");
				  Door_ChangeState();
				  Door_PermOpen = 1;
				  if(dzwiekPrzelacznik)
					  dzwiek_permOpenON();
				  LDG_Toggle();
				  Opoznienie = 0;
			  }
			  memset(klucz,' ',50);
		  }//Koniec: odbiór klucza nRF24

	  if(resetDiody_wysylka){//Resetowanie diody nadajnika
		  resetowanieDiody();
		  resetDiody_wysylka = 0;
	  }//Koniec: resetDiody_wysylka

	  //Początek obsługi komunikacji UART---------------

		if (USART_ODB_NotEmpty()) {		//Odebrano znak
			znak = USART_PobierzZnak();
			if (znak == 60) {	//znak początku ramki
					resetRamki();
					odbiorRamki = 1;
					ramkaReset = 1;
			}
			else if (odbiorRamki) {
				if (ramkaIDX > 255) { //Przekroczenie dozwolonej długości ramki
					przekroczonoZakres = 1;
					koniecRamki = 1;
				} else {
					if(kodowanie){
						if(znak == 112)		//jeśli wystąpiło \p
							ramka[ramkaIDX] = 60;	//podstaw <
						else if(znak == 107)	//jeśli wystąpiło \k
							ramka[ramkaIDX] = 62;	//podstaw >
						else if(znak == 92){	//jeśli wysłano ukośnik kodowany
							ramka[ramkaIDX] = znak;		//podstaw ukośnik
							kodowanie ++;	//i zwiększ, aby zorientować się że wystąpił ukośnik kodowany
						}
						else if(ramkaIDX > 7){ //został podany inny znak po znaku kodującym
							bladKodowania = 1; //ustaw zmienną powiadamiającą o błędzie
							koniecRamki = 1;   //i zakończ kolekcjonowanie ramki
						}
						else
							resetRamki(); //zakończ i zresetuj od razu, bo brak podanego nadawcy
						kodowanie--;
					}
					else
						ramka[ramkaIDX] = znak;
					ramkaIDX++;
					if (znak == 62 && !kodowanie) { //Odebrano znak końca ramki
						if (ramkaIDX > 7) {
							koniecRamki = 1;
							dlugoscRamki = ramkaIDX;
							ramkaIDX = 0;
							poczatekRamki = 0;
							odbiorRamki = 0;
						} else
							resetRamki(); //brak podanego nadawcy i komendy - błędna ramka
					}
					if(znak == 92 && !kodowanie){	//otrzymano ukośnik, znak kodowany
						kodowanie = 1;
						ramkaIDX--;
					}
					else if(znak == 92 && kodowanie)	//wystąpił ukośnik zakodowany
						kodowanie = 0;
				}
			}
		}
		  if(koniecRamki){
					  for(uint8_t t = 4; t <= 6; t++)
						  OdbiorcaSpr[t - 4] = ramka[t];
					  if((!strcmp(OdbiorcaSpr, Odbiorca))) //sprawdź czy ramka adresowana była do płytki (NCL)
					  {
						  if((ramka[3] == 95) && (ramka[7] == 95)){ //Sprawdzenie, czy podkreślniki są w odpowiednich miejscach
						  for(i = 0; i <= 14; i++) // Przepisanie dla komendy zmiany czasu
							  komenda[i] = ramka[i  + 8];
						  for(i = 0; i <= 2; i++) // Odebranie nadawcy z ramki
							  Nadawca[i] = ramka[i];
						  if(przekroczonoZakres)
						  {
							  if (dzwiekPrzelacznik)
									dzwiek_ID_Check_NotOK();
							  USART_wysylka("NCL_%s_Przekroczono maksymalna dlugosc ramki.\n\r", Nadawca);
						  }
						  else if(bladKodowania)
						  {
							  if(dzwiekPrzelacznik)
								  dzwiek_ID_Check_NotOK();
							  USART_wysylka("NCL_%s_Blad Kodowania - wpisano niedozwolony znak po znaku kodujacym.\n\r",Nadawca);

						  }
						  else
						  {
							  if(!strcmp(komenda, komendaZmienCzas)) // Indywidualny przypadek dla komendy
								  komendaZmienCzasTrigger = 1;
							  else
							  {
								  for(i = 0; i <= 14; i ++) //Zerowanie komendy
									  komenda[i] = 0;
								  for(i = 8; i < dlugoscRamki - 1; i++) // Odebranie komendy z ramki
									  komenda[i - 8] = ramka[i];
							  }
							  //początek sprawdzania rodzaju komendy
							  if(!strcmp(komenda,komendaOtworz)){
								  if(!(HAL_GPIO_ReadPin(RELAY_OUT_GPIO_Port, RELAY_OUT_Pin)))
								  {
									  Door_ChangeState();
									  if(dzwiekPrzelacznik)
										  dzwiek_ID_Check_OK();
									  Door_Open = 1;
									  Opoznienie = 0;
									  USART_wysylka("NCL_%s_Elektrozaczep zostal otwarty na czas: %dms.\n\r",Nadawca,Czas_OtwarciaFurtki);
								  }
								  else
									  USART_wysylka("NCL_%s_Elektrozaczep jest juz aktualnie otwarty.\n\r", Nadawca);
							  }
							  else if(!strcmp(komenda,komendaOtworzStale)){
								  if(!(HAL_GPIO_ReadPin(RELAY_OUT_GPIO_Port, RELAY_OUT_Pin)))
								  {
									  Door_ChangeState();
									  Door_PermOpen = 1;
									  if(dzwiekPrzelacznik)
										  dzwiek_permOpenON();
									  LDG_Toggle();
									  Opoznienie = 0;
									  USART_wysylka("NCL_%s_Elektrozaczep zostal otwarty do momentu jego zamkniecia pilotem lub komenda.\n\r",Nadawca);
								  }
								  else
									  USART_wysylka("NCL_%s_Elektrozaczep jest juz aktualnie otwarty.\n\r ",Nadawca);
							  }
							  else if(!strcmp(komenda,komendaZamknij)){
								  if(Door_PermOpen)
								  {
									  Door_ChangeState();
									  Door_PermOpen = 0;
									  LDG_Toggle();
									  if(dzwiekPrzelacznik)
										  dzwiek_doorClose();
									  Opoznienie = 0;
									  Licznik_Opoznienie = Czas_Opoznienie - 1000;
									  USART_wysylka("NCL_%s_Elektrozaczep zostal zamkniety.\n\r", Nadawca);
								  }
								  else if(HAL_GPIO_ReadPin(RELAY_OUT_GPIO_Port, RELAY_OUT_Pin))
								  {
									  Door_ChangeState();
									  Door_Open = 0;
									  Licznik = 0;
									  LDG_Toggle();
									  if(dzwiekPrzelacznik)
										  dzwiek_doorClose();
									  Opoznienie = 0;
									  Licznik_Opoznienie = Czas_Opoznienie - 1000;
									  USART_wysylka("NCL_%s_Elektrozaczep zostal zamkniety.\n\r",Nadawca);
								  }
								  else if(!(HAL_GPIO_ReadPin(RELAY_OUT_GPIO_Port, RELAY_OUT_Pin)))
									  USART_wysylka("NCL_%s_Elektrozaczep jest juz aktualnie zamkniety.\n\r",Nadawca);
							  }
							  else if(!strcmp(komenda,komendaFlashZapisz)){
								  if(!Opoznienie)
									  USART_wysylka("NCL_%s_Prosze poczekac az elektrozaczep zostanie zamkniety lub opoznienie zapisu minie.",Nadawca);
								  else if(trigger_flashClear)
									  USART_wysylka("NCL_%s_Trwa czyszczenie flash. Prosze przylozyc brylok w celu wyczyszczenia lub poczekac.",Nadawca);
								  else
								  {
								  ID_Zapis = 1;
								  USART_wysylka("NCL_%s_Zapis flash. Prosze przylozyc karte aby zapisac do pamieci.\n\r",Nadawca);
								  }
							  }
							  else if(!strcmp(komenda, komendaFlashWyczysc)){
								  if(!trigger_flashClear){
									  czyszczenieFlash = 1;
								  	  USART_wysylka("NCL_%s_Prosze przylozyc do anteny uprawniony brylok w celu wyczyszczenia (5s).",Nadawca);
								  }
								  else
									  USART_wysylka("NCL_%s_Trwa czyszczenie flash. Prosze przylozyc brylok w celu wyczyszczenia lub poczekac..",Nadawca);
							  }
							  else if(!strcmp(komenda,komendaDzwiek))
							  {
								  if(dzwiekPrzelacznik){
									  dzwiekPrzelacznik = 0;
									  USART_wysylka("NCL_%s_Dzwiek wylaczony.\n\r",Nadawca);
								  }
								  else
								  {
									  dzwiekPrzelacznik = 1;
									  dzwiek_ID_Check_OK();
									  USART_wysylka("NCL_%s_Dzwiek wlaczony.\n\r",Nadawca);
								  }
							  }
							  else if(komendaZmienCzasTrigger){
								  komendaZmienCzasTrigger = 0;
								  memset(zmianaCzasuTablica,0,5);
								  uint8_t dlugoscTabCzas = 5;
								  for(i = 23; i <= 27; i++){
									  if((ramka[i] == 0) || (ramka[i] == 62)){
										  dlugoscTabCzas = i - 23;
										  break;
									  }
									  if((ramka[i] > 47) && (ramka[i] < 58))
									  {
										  zmianaCzasuTablica[i - 23] = ramka[i] - 48;
									  }
									  else
									  {
										  zmianaCzasuError = 1;
										  break;
									  }
								  }
								  if(dlugoscRamki > 29)
									  zmianaCzasuError = 2;
								  if(!zmianaCzasuError)
								  {
									  tempCzas = 0;
									  for(i = 0; i < dlugoscTabCzas; i++)
										  tempCzas = 10 * tempCzas + zmianaCzasuTablica[i];
									  if((tempCzas >0) && (tempCzas <= 50000))
									  {
										  Czas_OtwarciaFurtki = tempCzas;
										  USART_wysylka("NCL_%s_Ustawiono czas otwarcia elektrozaczepu na %d ms.\n\r",Nadawca, Czas_OtwarciaFurtki);
									  }
									  else
										  USART_wysylka("NCL_%s_Podano niewlasciwy czas otwarcia elektrozaczepu. Dopuszczalny zakres to 1ms > CZAS > 50001ms.\n\r", Nadawca);
								  }
								  else if(zmianaCzasuError == 1)
									  USART_wysylka("NCL_%s_Podano niewlasciwe znaki podajac nowy czas otwarcia elektrozaczepu.\n\r ", Nadawca);
								  else
									  USART_wysylka("NCL_%s_Podano zbyt wiele znakow w polu zmiany czasu.\n\r", Nadawca);
								  zmianaCzasuError = 0;
							  }
							  else
							  {
								  USART_wysylka("NCL_%s_Wprowadzono zla komende.\n\r",Nadawca);
								  if(dzwiekPrzelacznik)
									  dzwiek_ID_Check_NotOK();
							  }
						  }
					  }
						  else{
							  USART_wysylka("NCL_%s_Nie znaleziono w odpowiednich miejscach znakow '_'.\n\r",Nadawca);
							  if(dzwiekPrzelacznik)
							  dzwiek_ID_Check_NotOK();
						  }
				  }
			  resetRamki();
			  resetKomendy();
		  }

  }//-----------------------------------KONIEC WHILE---------------------------------------------------------------------------------------

    /* USER CODE END WHILE */

}

void SystemClock_Config(void)
{
  RCC_OscInitTypeDef RCC_OscInitStruct = {0};
  RCC_ClkInitTypeDef RCC_ClkInitStruct = {0};
  RCC_PeriphCLKInitTypeDef PeriphClkInit = {0};

  /** Initializes the RCC Oscillators according to the specified parameters
  * in the RCC_OscInitTypeDef structure.
  */
  RCC_OscInitStruct.OscillatorType = RCC_OSCILLATORTYPE_HSI;
  RCC_OscInitStruct.HSIState = RCC_HSI_ON;
  RCC_OscInitStruct.HSICalibrationValue = RCC_HSICALIBRATION_DEFAULT;
  RCC_OscInitStruct.PLL.PLLState = RCC_PLL_ON;
  RCC_OscInitStruct.PLL.PLLSource = RCC_PLLSOURCE_HSI;
  RCC_OscInitStruct.PLL.PLLMUL = RCC_PLL_MUL9;
  RCC_OscInitStruct.PLL.PREDIV = RCC_PREDIV_DIV1;
  if (HAL_RCC_OscConfig(&RCC_OscInitStruct) != HAL_OK)
  {
    Error_Handler();
  }
  /** Initializes the CPU, AHB and APB buses clocks
  */
  RCC_ClkInitStruct.ClockType = RCC_CLOCKTYPE_HCLK|RCC_CLOCKTYPE_SYSCLK
                              |RCC_CLOCKTYPE_PCLK1|RCC_CLOCKTYPE_PCLK2;
  RCC_ClkInitStruct.SYSCLKSource = RCC_SYSCLKSOURCE_PLLCLK;
  RCC_ClkInitStruct.AHBCLKDivider = RCC_SYSCLK_DIV1;
  RCC_ClkInitStruct.APB1CLKDivider = RCC_HCLK_DIV2;
  RCC_ClkInitStruct.APB2CLKDivider = RCC_HCLK_DIV1;

  if (HAL_RCC_ClockConfig(&RCC_ClkInitStruct, FLASH_LATENCY_2) != HAL_OK)
  {
    Error_Handler();
  }
  PeriphClkInit.PeriphClockSelection = RCC_PERIPHCLK_USART2|RCC_PERIPHCLK_TIM1;
  PeriphClkInit.Usart2ClockSelection = RCC_USART2CLKSOURCE_PCLK1;
  PeriphClkInit.Tim1ClockSelection = RCC_TIM1CLK_HCLK;
  if (HAL_RCCEx_PeriphCLKConfig(&PeriphClkInit) != HAL_OK)
  {
    Error_Handler();
  }
}

void Error_Handler(void)
{
}

/************************ (C) COPYRIGHT STMicroelectronics *****END OF FILE****/
